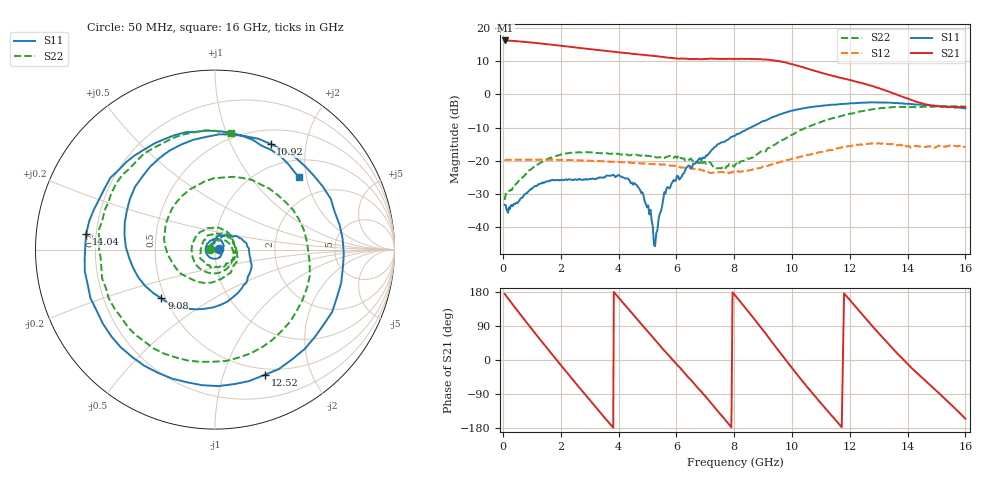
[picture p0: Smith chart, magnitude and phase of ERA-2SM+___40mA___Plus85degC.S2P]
! Mini-Circuits
! S2P DATA File Format
! Type: MMIC Amplifier
! Model: ERA-2SM  Reference Data:RDF-874AA
! Note: All S Parameters are in dB deg format
! TEST CONDITIONS: INPUT POWER = -20dBm, Icc = 40mA, Vd = 3.27V @Temperature = +85degC
! 401 Frequency points
# MHz S DB R 50
!  FREQ  dB(S11)  PHS(S11)  dB(S21)  PHS(S21)  dB(S12)  PHS(S12)  dB(S22)  PHS(S22)
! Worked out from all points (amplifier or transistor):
!   401 points, 50 MHz to 16 GHz, reference 50 ohm
!   highest |S21| = 16.3 dB at 70 MHz (marker M1)
!   |S21| within 3 dB of that: start of sweep to 3.402 GHz
!   unconditionally stable (mu >= 1): start of sweep to 10.23 GHz; 14.79 GHz to 15.08 GHz; 15.08 GHz to end of sweep
!   at 1.37 GHz: K = 1.11, MAG = 15.4 dB, |S12| = -19.7 dB
!   at 4.1 GHz: K = 1.40, MAG = 12.8 dB, |S12| = -20.4 dB
!   at 16 GHz: K = 1.36, MAG = 2.5 dB, |S12| = -15.9 dB
!   S11 on the Smith chart (normalised r, x): 50 MHz: 1.04, +0.00; 9.08 GHz: 0.48, -0.31; 10.92 GHz: 0.68, +1.43; 12.52 GHz: 0.43, -1.39; 14.04 GHz: 0.16, +0.06; 16 GHz: 1.39, +1.80
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50  -33.27 2.2  16.29 174.5  -19.68 -3.6  -31.79 168.5
70  -33.41 -1.2  16.29 172.6  -19.76 -5.3  -31.02 163.7
830  -29.70 -6.9  15.80 97.2  -19.67 -57.4  -23.58 58.5
1630  -26.02 -65.3  15.08 20.7  -19.71 -113.2  -19.11 -22.2
2110  -25.82 -109.4  14.60 -24.2  -19.75 -147.0  -17.94 -65.8
2710  -25.67 -174.1  13.98 -79.4  -19.88 170.9  -17.48 -118.8
3350  -25.06 116.2  13.35 -137.5  -20.09 125.6  -17.75 -175.8
3850  -24.54 65.8  12.88 177.7  -20.31 90.5  -17.97 139.8
4620  -27.30 5.3  12.14 109.3  -20.73 35.8  -18.16 78.8
5380  -37.51 154.4  11.46 42.2  -21.06 -17.8  -18.96 27.2
6060  -24.74 74.6  10.77 -15.6  -21.64 -68.3  -18.62 -19.9
6820  -19.23 45.1  10.59 -80.7  -22.56 -119.5  -20.55 -96.1
8060  -12.19 -42.6  10.77 167.8  -23.46 168.0  -20.93 86.6
9080  -7.89 -137.7  10.56 70.6  -21.58 104.3  -17.19 -43.5
9800  -5.40 156.1  9.62 -1.8  -19.79 53.9  -13.17 -136.4
10760  -3.69 75.1  7.20 -92.6  -17.82 -20.5  -9.09 120.7
10920  -3.54 62.3  6.80 -107.0  -17.47 -33.0  -8.62 105.7
11640  -2.93 4.7  5.11 -170.2  -16.15 -91.6  -6.67 40.5
12520  -2.49 -68.1  3.16 112.4  -14.88 -168.0  -4.91 -36.2
13400  -2.46 -139.9  0.69 37.2  -15.03 115.9  -3.89 -109.6
14040  -2.81 173.0  -1.34 -13.4  -15.48 65.4  -3.73 -155.5
16000  -4.20 40.7  -3.76 -155.1  -15.91 -80.3  -3.69 82.0
